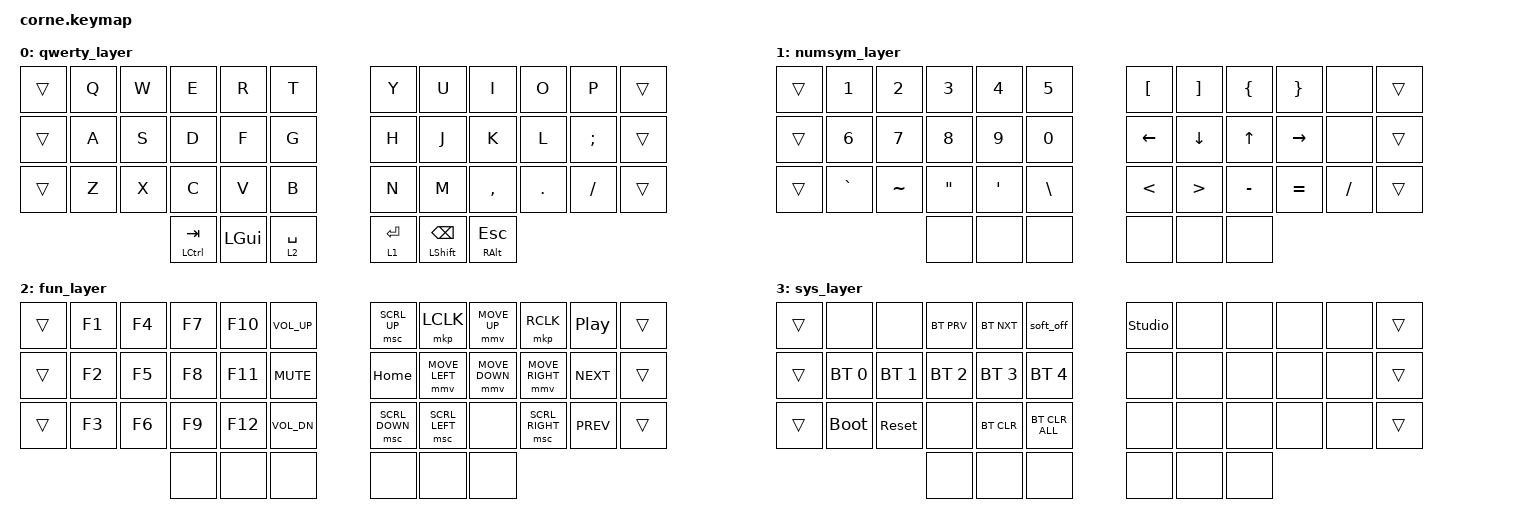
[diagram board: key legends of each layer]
/*
 * Copyright (c) 2020 The ZMK Contributors
 *
 * SPDX-License-Identifier: MIT
 */

#define ZMK_POINTING_DEFAULT_MOVE_VAL 1500  // default: 600
#define ZMK_POINTING_DEFAULT_SCRL_VAL 15    // default: 10

#include <behaviors.dtsi>
#include <dt-bindings/zmk/bt.h>
#include <dt-bindings/zmk/keys.h>
#include <dt-bindings/zmk/pointing.h>

&soft_off {
    hold-time-ms = <5000>; // Only turn off it the key is held for 5 seconds or longer.
};

&soft_off { /delete-property/ split-peripheral-off-on-press; };

&mt {
    tapping-term-ms = <400>;
    quick-tap-ms = <175>;
    require-prior-idle-ms = <150>;
    flavor = "balanced";
};

&lt { tapping-term-ms = <400>; };

/ {
    combos {
        compatible = "zmk,combos";

        layout_switch {
            bindings = <&tog 0>;
            key-positions = <36 37 40 41>;
        };

        system_reset {
            bindings = <&sys_reset>;
            key-positions = <3 4 5>;
        };

        bootloader {
            bindings = <&bootloader>;
            key-positions = <15 16 17>;
        };

        system_layer_combo {
            bindings = <&mo 3>;
            key-positions = <40 41>;
        };
    };

    conditional_layers { compatible = "zmk,conditional-layers"; };

    keymap {
        compatible = "zmk,keymap";

        qwerty_layer {
            bindings = <
&trans  &kp Q  &kp W  &kp E                 &kp R         &kp T          &kp Y        &kp U                     &kp I              &kp O    &kp P     &trans
&trans  &kp A  &kp S  &kp D                 &kp F         &kp G          &kp H        &kp J                     &kp K              &kp L    &kp SEMI  &trans
&trans  &kp Z  &kp X  &kp C                 &kp V         &kp B          &kp N        &kp M                     &kp COMMA          &kp DOT  &kp FSLH  &trans
                      &mt LEFT_CONTROL TAB  &kp LEFT_GUI  &lt 2 SPACE    &lt 1 ENTER  &mt LEFT_SHIFT BACKSPACE  &mt RIGHT_ALT ESC
            >;
        };

        numsym_layer {
            bindings = <
&trans  &kp N1        &kp N2     &kp N3   &kp N4   &kp N5          &kp LEFT_BRACKET  &kp RIGHT_BRACKET  &kp LEFT_BRACE  &kp RIGHT_BRACE  &none      &trans
&trans  &kp NUMBER_6  &kp N7     &kp N8   &kp N9   &kp NUMBER_0    &kp LEFT          &kp DOWN           &kp UP          &kp RIGHT        &none      &trans
&trans  &kp GRAVE     &kp TILDE  &kp DQT  &kp SQT  &kp BSLH        &kp LESS_THAN     &kp GREATER_THAN   &kp MINUS       &kp EQUAL        &kp SLASH  &trans
                                 &none    &none    &none           &none             &none              &none
            >;
        };

        fun_layer {
            bindings = <
&trans  &kp F1  &kp F4  &kp F7  &kp F10  &kp C_VOL_UP    &msc SCRL_UP    &mkp LCLK       &mmv MOVE_UP    &mkp RCLK        &kp C_PLAY_PAUSE  &trans
&trans  &kp F2  &kp F5  &kp F8  &kp F11  &kp C_MUTE      &kp HOME        &mmv MOVE_LEFT  &mmv MOVE_DOWN  &mmv MOVE_RIGHT  &kp C_NEXT        &trans
&trans  &kp F3  &kp F6  &kp F9  &kp F12  &kp C_VOL_DN    &msc SCRL_DOWN  &msc SCRL_LEFT  &none           &msc SCRL_RIGHT  &kp C_PREV        &trans
                        &none   &none    &none           &none           &none           &none
            >;
        };

        sys_layer {
            bindings = <
&trans  &none         &none         &bt BT_PRV    &bt BT_NXT    &soft_off         &studio_unlock  &none  &none  &none  &none  &trans
&trans  &bt BT_SEL 0  &bt BT_SEL 1  &bt BT_SEL 2  &bt BT_SEL 3  &bt BT_SEL 4      &none           &none  &none  &none  &none  &trans
&trans  &bootloader   &sys_reset    &none         &bt BT_CLR    &bt BT_CLR_ALL    &none           &none  &none  &none  &none  &trans
                                    &none         &none         &none             &none           &none  &none
            >;
        };
    };
};
